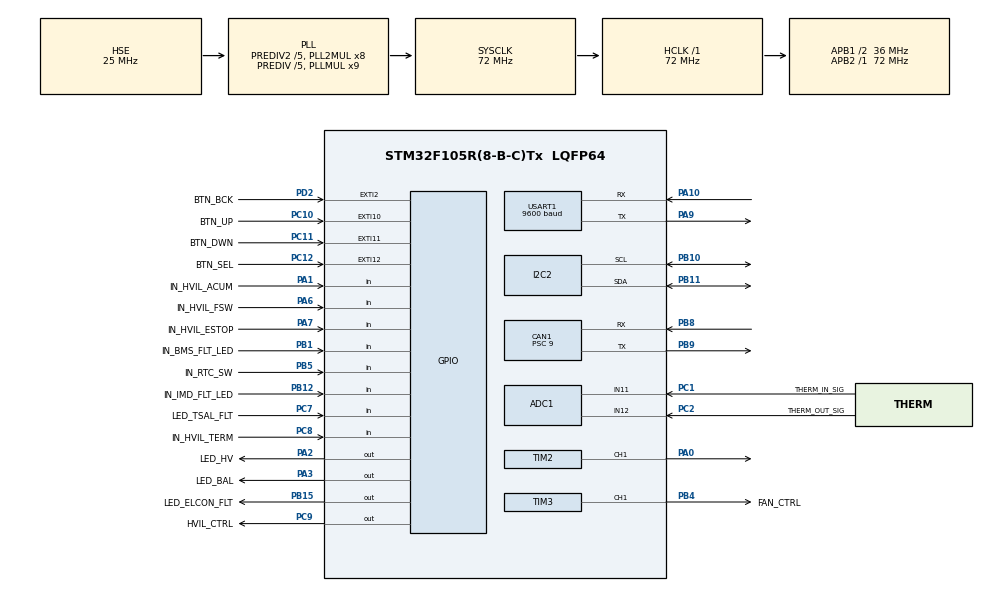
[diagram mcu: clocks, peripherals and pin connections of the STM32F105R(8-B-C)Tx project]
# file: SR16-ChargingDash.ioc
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ADC1.Channel-0\#ChannelRegularConversion=ADC_CHANNEL_11
ADC1.Channel-4\#ChannelRegularConversion=ADC_CHANNEL_12
ADC1.ContinuousConvMode=ENABLE
ADC1.ExternalTrigConv=ADC_EXTERNALTRIGCONV_T3_TRGO
ADC1.NbrOfConversion=2
ADC1.NbrOfConversionFlag=1
ADC1.Rank-0\#ChannelRegularConversion=1
ADC1.Rank-4\#ChannelRegularConversion=2
ADC1.SamplingTime-0\#ChannelRegularConversion=ADC_SAMPLETIME_1CYCLE_5
ADC1.SamplingTime-4\#ChannelRegularConversion=ADC_SAMPLETIME_1CYCLE_5
ADC1.master=1
CAN1.AWUM=DISABLE
CAN1.BS1=CAN_BS1_3TQ
CAN1.BS2=CAN_BS2_4TQ
CAN1.CalculateBaudRate=500000
CAN1.CalculateTimeBit=2000
CAN1.CalculateTimeQuantum=250.0
CAN1.NART=DISABLE
CAN1.Prescaler=9
CAN1.SJW=CAN_SJW_1TQ
Dma.ADC1.0.Direction=DMA_PERIPH_TO_MEMORY
Dma.ADC1.0.Instance=DMA1_Channel1
Dma.ADC1.0.MemDataAlignment=DMA_MDATAALIGN_HALFWORD
Dma.ADC1.0.MemInc=DMA_MINC_ENABLE
Dma.ADC1.0.Mode=DMA_CIRCULAR
Dma.ADC1.0.PeriphDataAlignment=DMA_PDATAALIGN_HALFWORD
Dma.ADC1.0.PeriphInc=DMA_PINC_DISABLE
Dma.ADC1.0.Priority=DMA_PRIORITY_LOW
Dma.Request0=ADC1
I2C2.I2C_Mode=I2C_Standard
Mcu.Family=STM32F1
Mcu.Name=STM32F105R(8-B-C)Tx
Mcu.Package=LQFP64
NVIC.CAN1_RX0_IRQn=true\:0\:0\:false\:false\:true\:true\:true\:true
NVIC.DMA1_Channel1_IRQn=true\:0\:0\:false\:false\:true\:false\:true\:true
NVIC.EXTI15_10_IRQn=true\:0\:0\:false\:false\:true\:true\:true\:true
NVIC.EXTI2_IRQn=true\:0\:0\:false\:false\:true\:true\:true\:true
NVIC.PriorityGroup=NVIC_PRIORITYGROUP_4
PA0-WKUP.Signal=S_TIM2_CH1_ETR
PA1.GPIO_Label=IN_HVIL_ACUM
PA1.GPIO_PuPd=GPIO_PULLDOWN
PA1.Signal=GPIO_Input
PA10.Mode=Asynchronous
PA10.Signal=USART1_RX
PA13.Signal=SYS_JTMS-SWDIO
PA14.Signal=SYS_JTCK-SWCLK
PA15.Signal=SYS_JTDI
PA2.GPIO_Label=LED_HV
PA2.GPIO_PuPd=GPIO_PULLDOWN
PA2.Signal=GPIO_Output
PA3.GPIO_Label=LED_BAL
PA3.GPIO_PuPd=GPIO_PULLDOWN
PA3.Signal=GPIO_Output
PA4.GPIO_Label=CP_SIG
PA4.Signal=ADCx_IN4
PA6.GPIO_Label=IN_HVIL_FSW
PA6.GPIO_PuPd=GPIO_PULLDOWN
PA6.Signal=GPIO_Input
PA7.GPIO_Label=IN_HVIL_ESTOP
PA7.GPIO_PuPd=GPIO_PULLDOWN
PA7.Signal=GPIO_Input
PA9.Mode=Asynchronous
PA9.Signal=USART1_TX
PB0.GPIO_Label=SHUNT_SIG
PB0.Signal=ADCx_IN8
PB1.GPIO_Label=IN_BMS_FLT_LED
PB1.GPIO_PuPd=GPIO_PULLUP
PB1.Signal=GPIO_Input
PB10.Mode=I2C
PB10.Signal=I2C2_SCL
PB11.Mode=I2C
PB11.Signal=I2C2_SDA
PB12.GPIO_Label=IN_IMD_FLT_LED
PB12.GPIO_PuPd=GPIO_PULLUP
PB12.Signal=GPIO_Input
PB15.GPIO_Label=LED_ELCON_FLT
PB15.GPIO_PuPd=GPIO_PULLDOWN
PB15.Signal=GPIO_Output
PB3.Signal=SYS_JTDO
PB4.GPIO_Label=FAN_CTRL
PB4.Signal=S_TIM3_CH1
PB5.GPIO_Label=IN_RTC_SW
PB5.GPIO_PuPd=GPIO_PULLUP
PB5.Signal=GPIO_Input
PB8.GPIO_PuPd=GPIO_NOPULL
PB8.Mode=CAN_Activate
PB8.Signal=CAN1_RX
PB9.Mode=CAN_Activate
PB9.Signal=CAN1_TX
PC1.GPIO_Label=THERM_IN_SIG
PC1.Signal=ADCx_IN11
PC10.GPIO_Label=BTN_UP
PC10.GPIO_ModeDefaultEXTI=GPIO_MODE_IT_FALLING
PC10.GPIO_PuPd=GPIO_PULLUP
PC10.Signal=GPXTI10
PC11.GPIO_Label=BTN_DWN
PC11.GPIO_ModeDefaultEXTI=GPIO_MODE_IT_FALLING
PC11.GPIO_PuPd=GPIO_PULLUP
PC11.Signal=GPXTI11
PC12.GPIO_Label=BTN_SEL
PC12.GPIO_ModeDefaultEXTI=GPIO_MODE_IT_FALLING
PC12.GPIO_PuPd=GPIO_PULLUP
PC12.Signal=GPXTI12
PC2.GPIO_Label=THERM_OUT_SIG
PC2.Signal=ADCx_IN12
PC7.GPIO_Label=LED_TSAL_FLT
PC7.Signal=GPIO_Input
PC8.GPIO_Label=IN_HVIL_TERM
PC8.GPIO_PuPd=GPIO_PULLDOWN
PC8.Signal=GPIO_Input
PC9.GPIO_Label=HVIL_CTRL
PC9.GPIO_PuPd=GPIO_PULLDOWN
PC9.PinState=GPIO_PIN_SET
PC9.Signal=GPIO_Output
PD0-OSC_IN.Mode=HSE-External-Oscillator
PD0-OSC_IN.Signal=RCC_OSC_IN
PD1-OSC_OUT.Mode=HSE-External-Oscillator
PD1-OSC_OUT.Signal=RCC_OSC_OUT
PD2.GPIO_Label=BTN_BCK
PD2.GPIO_ModeDefaultEXTI=GPIO_MODE_IT_FALLING
PD2.GPIO_PuPd=GPIO_PULLUP
PD2.Signal=GPXTI2
ProjectManager.HeapSize=0x200
ProjectManager.StackSize=0x400
ProjectManager.TargetToolchain=CMake
RCC.ADCPresc=RCC_ADCPCLK2_DIV6
RCC.AHBFreq_Value=72000000
RCC.APB1CLKDivider=RCC_HCLK_DIV2
RCC.APB1Freq_Value=36000000
RCC.APB1TimFreq_Value=72000000
RCC.APB2Freq_Value=72000000
RCC.APB2TimFreq_Value=72000000
RCC.HCLKFreq_Value=72000000
RCC.HSEDivPLL=RCC_HSE_PREDIV_DIV5
RCC.HSE_VALUE=25000000
RCC.PLLMUL=RCC_PLL_MUL9
RCC.PLLSourceVirtual=RCC_PLLSOURCE_HSE
RCC.Prediv1Source=RCC_PREDIV1_SOURCE_PLL2
RCC.Prediv2=RCC_HSE_PREDIV2_DIV5
RCC.SYSCLKFreq_VALUE=72000000
RCC.SYSCLKSource=RCC_SYSCLKSOURCE_PLLCLK
RCC.USBFreq_Value=48000000
SH.ADCx_IN11.0=ADC1_IN11,IN11
SH.ADCx_IN12.0=ADC1_IN12,IN12
SH.ADCx_IN4.0=ADC1_IN4
SH.ADCx_IN8.0=ADC1_IN8
SH.S_TIM2_CH1_ETR.0=TIM2_CH1,PWM Generation1 CH1
SH.S_TIM3_CH1.0=TIM3_CH1,PWM Generation1 CH1
TIM2.AutoReloadPreload=TIM_AUTORELOAD_PRELOAD_ENABLE
TIM2.Channel-PWM\ Generation1\ CH1=TIM_CHANNEL_1
TIM2.Period=100-1
TIM2.Prescaler=72-1
TIM3.AutoReloadPreload=TIM_AUTORELOAD_PRELOAD_ENABLE
TIM3.Channel-PWM\ Generation1\ CH1=TIM_CHANNEL_1
TIM3.Period=100-1
TIM3.Prescaler=72-1
USART1.BaudRate=9600
USART1.VirtualMode=VM_ASYNC
VP_SYS_VS_ND.Mode=No_Debug
VP_TIM2_VS_ClockSourceINT.Mode=Internal
VP_TIM3_VS_ClockSourceINT.Mode=Internal
board=custom

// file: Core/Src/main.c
/* USER CODE BEGIN Header */
// Written by Ayman Alamayri in Dec 2024
/**
  ******************************************************************************
  * @file           : main.c
  * @brief          : Main program body
  ******************************************************************************
  * @attention
  *
  * Copyright (c) 2024 STMicroelectronics.
  * All rights reserved.
  *
  * This software is licensed under terms that can be found in the LICENSE file
  * in the root directory of this software component.
  * If no LICENSE file comes with this software, it is provided AS-IS.
  *
  ******************************************************************************
  */
/* USER CODE END Header */
#include "main.h"

/* USER CODE BEGIN Includes */
#include <stdio.h>
#include <stdbool.h>
#include <math.h>

#include "display.h"
#include "charger.h"
#include "can_interface.h"

/* USER CODE END Includes */

/* USER CODE BEGIN PD */

// TODO: move stuff here

/* USER CODE END PD */

ADC_HandleTypeDef hadc1;
DMA_HandleTypeDef hdma_adc1;

CAN_HandleTypeDef hcan1;

I2C_HandleTypeDef hi2c2;

TIM_HandleTypeDef htim2;
TIM_HandleTypeDef htim3;

UART_HandleTypeDef huart1;

/* USER CODE BEGIN PV */

uint16_t THERM_RESIST = 12000;
uint16_t *therm_inlet = NULL;
uint16_t *therm_outlet = NULL;

float AMPS_AT_LOWER_MAX_CELL_CV_THRESH = 0;

char codeBranch[6] = "Beta";
char codeVersion[5] = "0.3.X";

/* USER CODE END PV */

void SystemClock_Config(void);
static void MX_GPIO_Init(void);
static void MX_DMA_Init(void);
static void MX_CAN1_Init(void);
void MX_I2C2_Init(void);
static void MX_USART1_UART_Init(void);
static void MX_TIM3_Init(void);
static void MX_ADC1_Init(void);
static void MX_TIM2_Init(void);
/* USER CODE BEGIN PFP */

// PRINTF SUPPORT VIA UART - BEGIN
#ifdef __GNUC__
#define PUTCHAR_PROTOTYPE int __io_putchar(int ch)
#else
#define PUTCHAR_PROTOTYPE int fputc(int ch, FILE *f)
#endif

PUTCHAR_PROTOTYPE
{
  HAL_UART_Transmit(&huart1, (uint8_t *)&ch, 1, HAL_MAX_DELAY);
  return ch;
}
// PRINTF SUPPORT VIA UART - END

/* USER CODE END PFP */

/* USER CODE BEGIN 0 */

// FAN SPEED CONTROL
void FAN_SPD_CTRL(uint32_t fan_speed) {
  if (fan_speed <= 100) {
    TIM3->CCR1 = fan_speed;
  } else {
    // TODO: Throw error
  }
}

// TODO: fix
// READ THERMISTOR VALUE
float READ_THERM(uint16_t* adc_thermistor, uint16_t therm_first_resistance) {
  if (adc_thermistor == NULL || *adc_thermistor == 0) return -273.15;
  float calibration_a = 1.462805229e-3;
  float calibration_b = 2.310582766e-4;
  float calibration_c = 1.189005910e-7;
  float thermistor_voltage = (*adc_thermistor / 4095.0) * 3.3;
  if (thermistor_voltage >= 3.3f) thermistor_voltage = 3.299;
  float therm_resistance = (thermistor_voltage * therm_first_resistance) / (3.3 - thermistor_voltage);
  if (therm_resistance <= 0) return -273.15;
  float temperature = (1 / (calibration_a + calibration_b * log(therm_resistance) + calibration_c * pow(log(therm_resistance), 3))) - 273.15;
  return temperature;
}

// TODO: complete
// SEND i2c to Atiny for SOC
void NEOPIX_CTRL(int SOC) {
}

// TODO: complete
// READ CONTROL PILOT FOR CURRENT LIMIT
float READ_CPILOT_CURRENT() {
  return 0.0;
}

/* USER CODE END 0 */

int main(void)
{

  /* MCU Configuration--------------------------------------------------------*/

  /* Reset of all peripherals, Initializes the Flash interface and the Systick. */
  HAL_Init();

  /* Configure the system clock */
  SystemClock_Config();

  /* Initialize all configured peripherals */
  MX_GPIO_Init();
  MX_DMA_Init();
  MX_CAN1_Init();
  MX_I2C2_Init();
  MX_USART1_UART_Init();
  MX_TIM3_Init();
  MX_ADC1_Init();
  MX_TIM2_Init();
  /* USER CODE BEGIN 2 */

  // INIT DISPLAY
  Display_init();

  // INIT CHARGING CAN STRUCT
  CANMessage charging_msg;
  CAN_SettingsInit(&charging_msg, true, 8);

  // INIT BALANCING CAN STRUCT
  CANMessage balancing_msg;
  CAN_SettingsInit(&balancing_msg, false, 1);

  // INIT PWM
  HAL_TIM_PWM_Start(&htim3, TIM_CHANNEL_1);

  // INIT ADC
  uint16_t adc_buffer[2];
  HAL_TIM_Base_Start(&htim3);
  HAL_ADC_Start_DMA(&hadc1, (uint32_t*)adc_buffer, 2);

  HAL_Delay(1000);
  therm_inlet = &adc_buffer[0];
  therm_outlet = &adc_buffer[1];

   // TODO: better init for GUI
  // TEMP STUFF 1 END

  /* USER CODE END 2 */

  /* Infinite loop */
  /* USER CODE BEGIN WHILE */
  while (1)
  {

    //int fan_speed = READ_THERM(therm_outlet, THERM_RESIST);
    FAN_SPD_CTRL(50);

    //uint8_t data = currentBmsAndElconData.BMS_sumOfCells;
    //HAL_I2C_Master_Transmit(&hi2c2, 0x04 << 1, &data, 1, 10);

    // TODO: CHECK ALL LEDS AND PERIPHERALS WORK
    Display_updateState();
    Charger_handleCharging(&charging_msg, &balancing_msg);

    /* USER CODE END WHILE */

  }
}

void SystemClock_Config(void)
{
  RCC_OscInitTypeDef RCC_OscInitStruct = {0};
  RCC_ClkInitTypeDef RCC_ClkInitStruct = {0};
  RCC_PeriphCLKInitTypeDef PeriphClkInit = {0};

  /** Initializes the RCC Oscillators according to the specified parameters
  * in the RCC_OscInitTypeDef structure.
  */
  RCC_OscInitStruct.OscillatorType = RCC_OSCILLATORTYPE_HSE;
  RCC_OscInitStruct.HSEState = RCC_HSE_ON;
  RCC_OscInitStruct.HSEPredivValue = RCC_HSE_PREDIV_DIV5;
  RCC_OscInitStruct.HSIState = RCC_HSI_ON;
  RCC_OscInitStruct.Prediv1Source = RCC_PREDIV1_SOURCE_PLL2;
  RCC_OscInitStruct.PLL.PLLState = RCC_PLL_ON;
  RCC_OscInitStruct.PLL.PLLSource = RCC_PLLSOURCE_HSE;
  RCC_OscInitStruct.PLL.PLLMUL = RCC_PLL_MUL9;
  RCC_OscInitStruct.PLL2.PLL2State = RCC_PLL2_ON;
  RCC_OscInitStruct.PLL2.PLL2MUL = RCC_PLL2_MUL8;
  RCC_OscInitStruct.PLL2.HSEPrediv2Value = RCC_HSE_PREDIV2_DIV5;
  if (HAL_RCC_OscConfig(&RCC_OscInitStruct) != HAL_OK)
  {
    Error_Handler();
  }

  /** Initializes the CPU, AHB and APB buses clocks
  */
  RCC_ClkInitStruct.ClockType = RCC_CLOCKTYPE_HCLK|RCC_CLOCKTYPE_SYSCLK
                              |RCC_CLOCKTYPE_PCLK1|RCC_CLOCKTYPE_PCLK2;
  RCC_ClkInitStruct.SYSCLKSource = RCC_SYSCLKSOURCE_PLLCLK;
  RCC_ClkInitStruct.AHBCLKDivider = RCC_SYSCLK_DIV1;
  RCC_ClkInitStruct.APB1CLKDivider = RCC_HCLK_DIV2;
  RCC_ClkInitStruct.APB2CLKDivider = RCC_HCLK_DIV1;

  if (HAL_RCC_ClockConfig(&RCC_ClkInitStruct, FLASH_LATENCY_2) != HAL_OK)
  {
    Error_Handler();
  }
  PeriphClkInit.PeriphClockSelection = RCC_PERIPHCLK_ADC;
  PeriphClkInit.AdcClockSelection = RCC_ADCPCLK2_DIV6;
  if (HAL_RCCEx_PeriphCLKConfig(&PeriphClkInit) != HAL_OK)
  {
    Error_Handler();
  }

  /** Configure the Systick interrupt time
  */
  __HAL_RCC_PLLI2S_ENABLE();
}

static void MX_ADC1_Init(void)
{

  ADC_ChannelConfTypeDef sConfig = {0};

  /** Common config
  */
  hadc1.Instance = ADC1;
  hadc1.Init.ScanConvMode = ADC_SCAN_ENABLE;
  hadc1.Init.ContinuousConvMode = ENABLE;
  hadc1.Init.DiscontinuousConvMode = DISABLE;
  hadc1.Init.ExternalTrigConv = ADC_EXTERNALTRIGCONV_T3_TRGO;
  hadc1.Init.DataAlign = ADC_DATAALIGN_RIGHT;
  hadc1.Init.NbrOfConversion = 2;
  if (HAL_ADC_Init(&hadc1) != HAL_OK)
  {
    Error_Handler();
  }

  /** Configure Regular Channel
  */
  sConfig.Channel = ADC_CHANNEL_11;
  sConfig.Rank = ADC_REGULAR_RANK_1;
  sConfig.SamplingTime = ADC_SAMPLETIME_1CYCLE_5;
  if (HAL_ADC_ConfigChannel(&hadc1, &sConfig) != HAL_OK)
  {
    Error_Handler();
  }

  /** Configure Regular Channel
  */
  sConfig.Channel = ADC_CHANNEL_12;
  sConfig.Rank = ADC_REGULAR_RANK_2;
  if (HAL_ADC_ConfigChannel(&hadc1, &sConfig) != HAL_OK)
  {
    Error_Handler();
  }

}

static void MX_CAN1_Init(void)
{

  hcan1.Instance = CAN1;
  hcan1.Init.Prescaler = 9;
  hcan1.Init.Mode = CAN_MODE_NORMAL;
  hcan1.Init.SyncJumpWidth = CAN_SJW_1TQ;
  hcan1.Init.TimeSeg1 = CAN_BS1_3TQ;
  hcan1.Init.TimeSeg2 = CAN_BS2_4TQ;
  hcan1.Init.TimeTriggeredMode = DISABLE;
  hcan1.Init.AutoBusOff = DISABLE;
  hcan1.Init.AutoWakeUp = DISABLE;
  hcan1.Init.AutoRetransmission = DISABLE;
  hcan1.Init.ReceiveFifoLocked = DISABLE;
  hcan1.Init.TransmitFifoPriority = DISABLE;
  if (HAL_CAN_Init(&hcan1) != HAL_OK)
  {
    Error_Handler();
  }

}

void MX_I2C2_Init(void)
{

  hi2c2.Instance = I2C2;
  hi2c2.Init.ClockSpeed = 100000;
  hi2c2.Init.DutyCycle = I2C_DUTYCYCLE_2;
  hi2c2.Init.OwnAddress1 = 0;
  hi2c2.Init.AddressingMode = I2C_ADDRESSINGMODE_7BIT;
  hi2c2.Init.DualAddressMode = I2C_DUALADDRESS_DISABLE;
  hi2c2.Init.OwnAddress2 = 0;
  hi2c2.Init.GeneralCallMode = I2C_GENERALCALL_DISABLE;
  hi2c2.Init.NoStretchMode = I2C_NOSTRETCH_DISABLE;
  if (HAL_I2C_Init(&hi2c2) != HAL_OK)
  {
    Error_Handler();
  }

}

static void MX_TIM2_Init(void)
{

  TIM_ClockConfigTypeDef sClockSourceConfig = {0};
  TIM_MasterConfigTypeDef sMasterConfig = {0};
  TIM_OC_InitTypeDef sConfigOC = {0};

  htim2.Instance = TIM2;
  htim2.Init.Prescaler = 72-1;
  htim2.Init.CounterMode = TIM_COUNTERMODE_UP;
  htim2.Init.Period = 100-1;
  htim2.Init.ClockDivision = TIM_CLOCKDIVISION_DIV1;
  htim2.Init.AutoReloadPreload = TIM_AUTORELOAD_PRELOAD_ENABLE;
  if (HAL_TIM_Base_Init(&htim2) != HAL_OK)
  {
    Error_Handler();
  }
  sClockSourceConfig.ClockSource = TIM_CLOCKSOURCE_INTERNAL;
  if (HAL_TIM_ConfigClockSource(&htim2, &sClockSourceConfig) != HAL_OK)
  {
    Error_Handler();
  }
  if (HAL_TIM_PWM_Init(&htim2) != HAL_OK)
  {
    Error_Handler();
  }
  sMasterConfig.MasterOutputTrigger = TIM_TRGO_RESET;
  sMasterConfig.MasterSlaveMode = TIM_MASTERSLAVEMODE_DISABLE;
  if (HAL_TIMEx_MasterConfigSynchronization(&htim2, &sMasterConfig) != HAL_OK)
  {
    Error_Handler();
  }
  sConfigOC.OCMode = TIM_OCMODE_PWM1;
  sConfigOC.Pulse = 0;
  sConfigOC.OCPolarity = TIM_OCPOLARITY_HIGH;
  sConfigOC.OCFastMode = TIM_OCFAST_DISABLE;
  if (HAL_TIM_PWM_ConfigChannel(&htim2, &sConfigOC, TIM_CHANNEL_1) != HAL_OK)
  {
    Error_Handler();
  }
  HAL_TIM_MspPostInit(&htim2);

}

static void MX_TIM3_Init(void)
{

  TIM_ClockConfigTypeDef sClockSourceConfig = {0};
  TIM_MasterConfigTypeDef sMasterConfig = {0};
  TIM_OC_InitTypeDef sConfigOC = {0};

  htim3.Instance = TIM3;
  htim3.Init.Prescaler = 72-1;
  htim3.Init.CounterMode = TIM_COUNTERMODE_UP;
  htim3.Init.Period = 100-1;
  htim3.Init.ClockDivision = TIM_CLOCKDIVISION_DIV1;
  htim3.Init.AutoReloadPreload = TIM_AUTORELOAD_PRELOAD_ENABLE;
  if (HAL_TIM_Base_Init(&htim3) != HAL_OK)
  {
    Error_Handler();
  }
  sClockSourceConfig.ClockSource = TIM_CLOCKSOURCE_INTERNAL;
  if (HAL_TIM_ConfigClockSource(&htim3, &sClockSourceConfig) != HAL_OK)
  {
    Error_Handler();
  }
  if (HAL_TIM_PWM_Init(&htim3) != HAL_OK)
  {
    Error_Handler();
  }
  sMasterConfig.MasterOutputTrigger = TIM_TRGO_RESET;
  sMasterConfig.MasterSlaveMode = TIM_MASTERSLAVEMODE_DISABLE;
  if (HAL_TIMEx_MasterConfigSynchronization(&htim3, &sMasterConfig) != HAL_OK)
  {
    Error_Handler();
  }
  sConfigOC.OCMode = TIM_OCMODE_PWM1;
  sConfigOC.Pulse = 0;
  sConfigOC.OCPolarity = TIM_OCPOLARITY_HIGH;
  sConfigOC.OCFastMode = TIM_OCFAST_DISABLE;
  if (HAL_TIM_PWM_ConfigChannel(&htim3, &sConfigOC, TIM_CHANNEL_1) != HAL_OK)
  {
    Error_Handler();
  }
  HAL_TIM_MspPostInit(&htim3);

}

static void MX_USART1_UART_Init(void)
{

  huart1.Instance = USART1;
  huart1.Init.BaudRate = 9600;
  huart1.Init.WordLength = UART_WORDLENGTH_8B;
  huart1.Init.StopBits = UART_STOPBITS_1;
  huart1.Init.Parity = UART_PARITY_NONE;
  huart1.Init.Mode = UART_MODE_TX_RX;
  huart1.Init.HwFlowCtl = UART_HWCONTROL_NONE;
  huart1.Init.OverSampling = UART_OVERSAMPLING_16;
  if (HAL_UART_Init(&huart1) != HAL_OK)
  {
    Error_Handler();
  }

}

static void MX_DMA_Init(void)
{

  /* DMA controller clock enable */
  __HAL_RCC_DMA1_CLK_ENABLE();

  /* DMA interrupt init */
  /* DMA1_Channel1_IRQn interrupt configuration */
  HAL_NVIC_SetPriority(DMA1_Channel1_IRQn, 0, 0);
  HAL_NVIC_EnableIRQ(DMA1_Channel1_IRQn);

}

static void MX_GPIO_Init(void)
{
  GPIO_InitTypeDef GPIO_InitStruct = {0};

  /* GPIO Ports Clock Enable */
  __HAL_RCC_GPIOD_CLK_ENABLE();
  __HAL_RCC_GPIOC_CLK_ENABLE();
  __HAL_RCC_GPIOA_CLK_ENABLE();
  __HAL_RCC_GPIOB_CLK_ENABLE();

  /*Configure GPIO pin Output Level */
  HAL_GPIO_WritePin(GPIOA, LED_HV_Pin|LED_BAL_Pin, GPIO_PIN_RESET);

  /*Configure GPIO pin Output Level */
  HAL_GPIO_WritePin(LED_ELCON_FLT_GPIO_Port, LED_ELCON_FLT_Pin, GPIO_PIN_RESET);

  /*Configure GPIO pin Output Level */
  HAL_GPIO_WritePin(HVIL_CTRL_GPIO_Port, HVIL_CTRL_Pin, GPIO_PIN_SET);

  /*Configure GPIO pins : IN_HVIL_ACUM_Pin IN_HVIL_FSW_Pin IN_HVIL_ESTOP_Pin */
  GPIO_InitStruct.Pin = IN_HVIL_ACUM_Pin|IN_HVIL_FSW_Pin|IN_HVIL_ESTOP_Pin;
  GPIO_InitStruct.Mode = GPIO_MODE_INPUT;
  GPIO_InitStruct.Pull = GPIO_PULLDOWN;
  HAL_GPIO_Init(GPIOA, &GPIO_InitStruct);

  /*Configure GPIO pins : LED_HV_Pin LED_BAL_Pin */
  GPIO_InitStruct.Pin = LED_HV_Pin|LED_BAL_Pin;
  GPIO_InitStruct.Mode = GPIO_MODE_OUTPUT_PP;
  GPIO_InitStruct.Pull = GPIO_PULLDOWN;
  GPIO_InitStruct.Speed = GPIO_SPEED_FREQ_LOW;
  HAL_GPIO_Init(GPIOA, &GPIO_InitStruct);

  /*Configure GPIO pins : IN_BMS_FLT_LED_Pin IN_IMD_FLT_LED_Pin IN_RTC_SW_Pin */
  GPIO_InitStruct.Pin = IN_BMS_FLT_LED_Pin|IN_IMD_FLT_LED_Pin|IN_RTC_SW_Pin;
  GPIO_InitStruct.Mode = GPIO_MODE_INPUT;
  GPIO_InitStruct.Pull = GPIO_PULLUP;
  HAL_GPIO_Init(GPIOB, &GPIO_InitStruct);

  /*Configure GPIO pin : LED_ELCON_FLT_Pin */
  GPIO_InitStruct.Pin = LED_ELCON_FLT_Pin;
  GPIO_InitStruct.Mode = GPIO_MODE_OUTPUT_PP;
  GPIO_InitStruct.Pull = GPIO_PULLDOWN;
  GPIO_InitStruct.Speed = GPIO_SPEED_FREQ_LOW;
  HAL_GPIO_Init(LED_ELCON_FLT_GPIO_Port, &GPIO_InitStruct);

  /*Configure GPIO pin : LED_TSAL_FLT_Pin */
  GPIO_InitStruct.Pin = LED_TSAL_FLT_Pin;
  GPIO_InitStruct.Mode = GPIO_MODE_INPUT;
  GPIO_InitStruct.Pull = GPIO_NOPULL;
  HAL_GPIO_Init(LED_TSAL_FLT_GPIO_Port, &GPIO_InitStruct);

  /*Configure GPIO pin : IN_HVIL_TERM_Pin */
  GPIO_InitStruct.Pin = IN_HVIL_TERM_Pin;
  GPIO_InitStruct.Mode = GPIO_MODE_INPUT;
  GPIO_InitStruct.Pull = GPIO_PULLDOWN;
  HAL_GPIO_Init(IN_HVIL_TERM_GPIO_Port, &GPIO_InitStruct);

  /*Configure GPIO pin : HVIL_CTRL_Pin */
  GPIO_InitStruct.Pin = HVIL_CTRL_Pin;
  GPIO_InitStruct.Mode = GPIO_MODE_OUTPUT_PP;
  GPIO_InitStruct.Pull = GPIO_PULLDOWN;
  GPIO_InitStruct.Speed = GPIO_SPEED_FREQ_LOW;
  HAL_GPIO_Init(HVIL_CTRL_GPIO_Port, &GPIO_InitStruct);

  /*Configure GPIO pins : BTN_UP_Pin BTN_DWN_Pin BTN_SEL_Pin */
  GPIO_InitStruct.Pin = BTN_UP_Pin|BTN_DWN_Pin|BTN_SEL_Pin;
  GPIO_InitStruct.Mode = GPIO_MODE_IT_FALLING;
  GPIO_InitStruct.Pull = GPIO_PULLUP;
  HAL_GPIO_Init(GPIOC, &GPIO_InitStruct);

  /*Configure GPIO pin : BTN_BCK_Pin */
  GPIO_InitStruct.Pin = BTN_BCK_Pin;
  GPIO_InitStruct.Mode = GPIO_MODE_IT_FALLING;
  GPIO_InitStruct.Pull = GPIO_PULLUP;
  HAL_GPIO_Init(BTN_BCK_GPIO_Port, &GPIO_InitStruct);

  /* EXTI interrupt init*/
  HAL_NVIC_SetPriority(EXTI2_IRQn, 0, 0);
  HAL_NVIC_EnableIRQ(EXTI2_IRQn);

  HAL_NVIC_SetPriority(EXTI15_10_IRQn, 0, 0);
  HAL_NVIC_EnableIRQ(EXTI15_10_IRQn);

}

void Error_Handler(void)
{
  __disable_irq();
  while (1)
  {
  }
}
